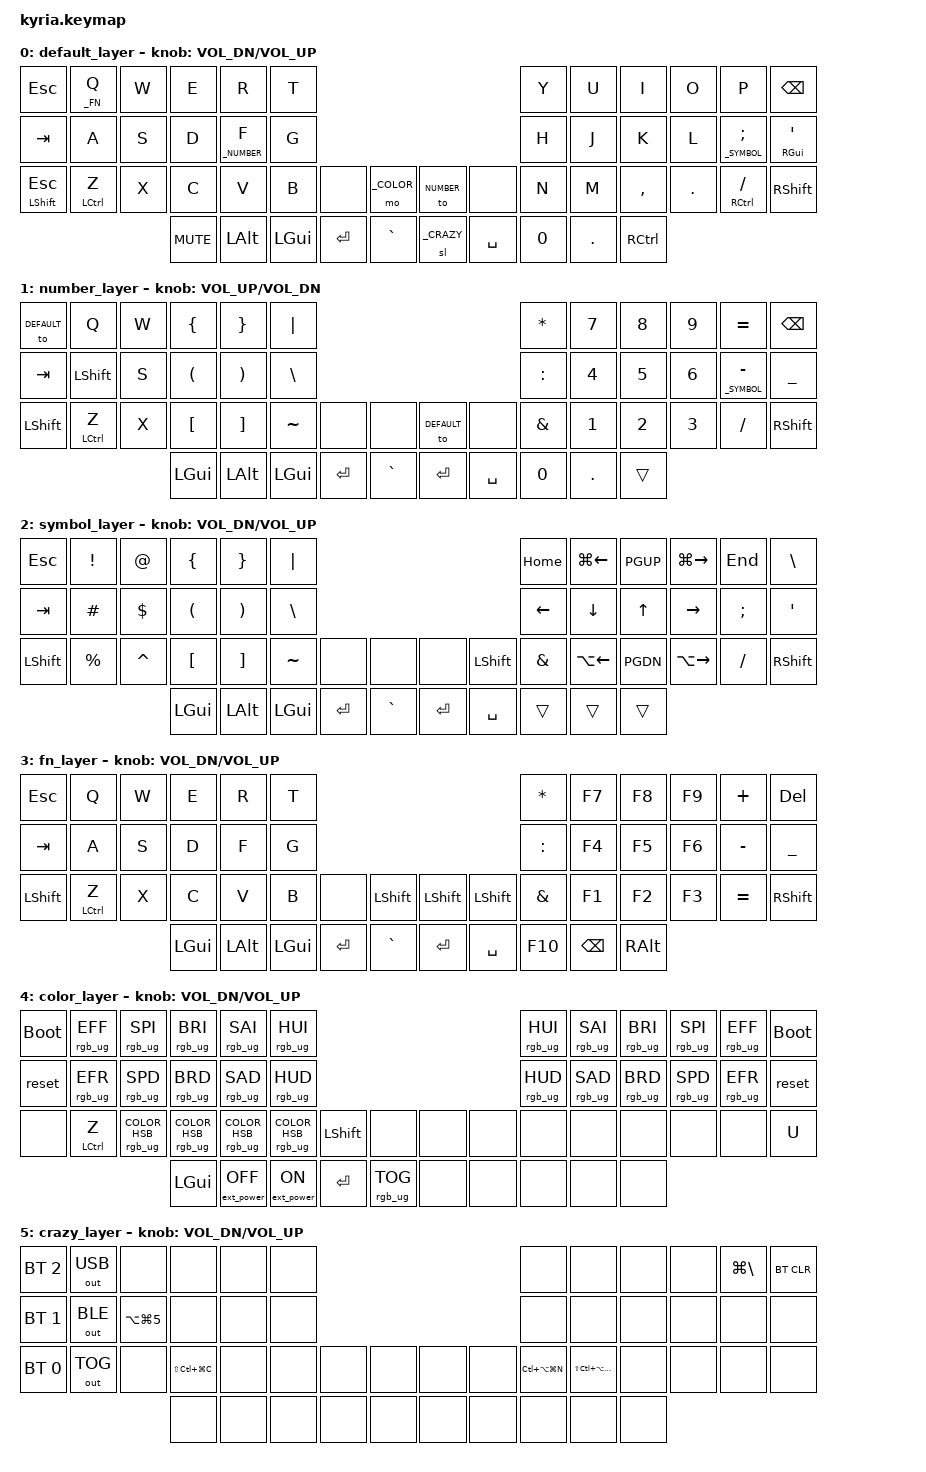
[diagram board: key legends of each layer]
/*
 * Copyright (c) 2020 The ZMK Contributors
 *
 * SPDX-License-Identifier: MIT
 */

#include <behaviors.dtsi>
#include <dt-bindings/zmk/keys.h>
#include <dt-bindings/zmk/rgb.h>
#include <dt-bindings/zmk/ext_power.h>
#include <dt-bindings/zmk/bt.h>
#include <dt-bindings/zmk/outputs.h>

// west build -d build/left -b nice_nano -- -DSHIELD=kyria_left
// west build -d build/right -b nice_nano -- -DSHIELD=kyria_right

#define _DEFAULT 0
#define _NUMBER  1
#define _SYMBOL  2
#define _FN      3
#define _COLOR   4
#define _CRAZY   5

/ {

  behaviors {
    hm: homerow_mods {
        compatible = "zmk,behavior-hold-tap";
        label = "HOMEROW_MODS";
        #binding-cells = <2>;
        tapping_term_ms = <150>;
        flavor = "tap-preferred";
        bindings = <&kp>, <&kp>;
    };
  };

  combos {
    compatible = "zmk,combos";
    combo_ret {
      timeout-ms = <50>;
      key-positions = <19 20>; // J K
      bindings = <&kp RET>;
    };

    combo_space {
      timeout-ms = <50>;
      key-positions = <14 16>; // S F
      bindings = <&kp SPACE>;
    };
    
    combo_cmdspace {
      timeout-ms = <50>;
      key-positions = <43 46>;
      bindings = <&kp LG(SPACE)>;
    };
  };

	keymap {
		compatible = "zmk,keymap";

		default_layer {
// -----------------------------------------------------------------------------------------------------------------------------------
// |  ESC  |  Q  |  W  |  E   |  R   |  T   |                                          |  Y   |  U    |  I    |  O   |   P   |   \   |
// |  TAB  |  A  |  S  |  D   |  F   |  G   |                                          |  H   |  J    |  K    |  L   |   ;   |   '   |
// | SHIFT |  Z  |  X  |  C   |  V   |  B   | L SHIFT | L SHIFT |  | L SHIFT | L SHIFT |  N   |  M    |  ,    |  .   |   /   | SHIFT |
//                     | GUI  | LALT | LGUI |   RET   |  GRAVE  |  |   RET   |  SPACE  | TAB  | BSPC  | R-ALT |
			bindings = <
	&kp ESC       &lt _FN Q    &kp W  &kp E       &kp R          &kp T                                                  &kp Y   &kp U    &kp I      &kp O    &kp P             &kp BSPC
	&kp TAB       &kp A        &kp S  &kp D       &lt _NUMBER F  &kp G                                                  &kp H   &kp J    &kp K      &kp L    &lt _SYMBOL SEMI  &hm RGUI SQT
	&mt LSHFT ESC &mt LCTRL Z  &kp X  &kp C       &kp V          &kp B     &none    &mo _COLOR  &to _NUMBER  &none      &kp N   &kp M    &kp COMMA  &kp DOT  &mt RCTRL FSLH    &kp RSHFT
	                               &kp K_MUTE  &kp LALT       &kp LGUI  &kp RET  &kp GRAVE   &sl _CRAZY   &kp SPACE  &kp N0  &kp DOT  &kp RCTL
			>;

			sensor-bindings = <&inc_dec_kp C_VOL_DN C_VOL_UP>;
		};

		number_layer {
			bindings = <
	&to _DEFAULT  &kp Q        &kp W  &kp LBRC  &kp RBRC  &kp PIPE                                                &kp STAR   &kp N7   &kp N8  &kp N9  &kp EQUAL          &kp BSPC
	&kp TAB       &kp LSHFT    &kp S  &kp LPAR  &kp RPAR  &kp BSLH                                                &kp COLON  &kp N4   &kp N5  &kp N6  &lt _SYMBOL MINUS  &kp UNDER
	&kp LSHFT     &mt LCTRL Z  &kp X  &kp LBKT  &kp RBKT  &kp TILDE  &none    &none      &to _DEFAULT  &none      &kp AMPS   &kp N1   &kp N2  &kp N3  &kp FSLH           &kp RSHFT
	                                  &kp LGUI  &kp LALT  &kp LGUI   &kp RET  &kp GRAVE  &kp RET       &kp SPACE  &kp N0     &kp DOT  &trans
			>;

			sensor-bindings = <&inc_dec_kp C_VOL_UP C_VOL_DN>;
		};

		symbol_layer {
			bindings = <
	&kp ESC    &kp EXCL   &kp AT      &kp LBRC  &kp RBRC  &kp PIPE                                           &kp HOME  &kp LG(LEFT)  &kp PGUP  &kp LG(RIGHT)  &kp END   &kp BSLH
	&kp TAB    &kp HASH   &kp DOLLAR  &kp LPAR  &kp RPAR  &kp BSLH                                           &kp LEFT  &kp DOWN      &kp UP    &kp RIGHT      &kp SEMI  &kp SQT
	&kp LSHFT  &kp PRCNT  &kp CARET   &kp LBKT  &kp RBKT  &kp TILDE  &none    &none      &none    &kp LSHFT  &kp AMPS  &kp LA(LEFT)  &kp PGDN  &kp LA(RIGHT)  &kp FSLH  &kp RSHFT
	                                  &kp LGUI  &kp LALT  &kp LGUI   &kp RET  &kp GRAVE  &kp RET  &kp SPACE  &trans    &trans        &trans
			>;

			sensor-bindings = <&inc_dec_kp C_VOL_DN C_VOL_UP>;
		};

		fn_layer {
			bindings = <
	&kp ESC    &kp Q        &kp W  &kp E     &kp R     &kp T                                               &kp STAR   &kp F7    &kp F8    &kp F9  &kp PLUS   &kp DEL
	&kp TAB    &kp A        &kp S  &kp D     &kp F     &kp G                                               &kp COLON  &kp F4    &kp F5    &kp F6  &kp MINUS  &kp UNDER
	&kp LSHFT  &mt LCTRL Z  &kp X  &kp C     &kp V     &kp B     &none    &kp LSHFT  &kp LSHFT  &kp LSHFT  &kp AMPS   &kp F1    &kp F2    &kp F3  &kp EQUAL  &kp RSHFT
	                               &kp LGUI  &kp LALT  &kp LGUI  &kp RET  &kp GRAVE  &kp RET    &kp SPACE  &kp F10    &kp BSPC  &kp RALT
			>;

			sensor-bindings = <&inc_dec_kp C_VOL_DN C_VOL_UP>;
		};

		color_layer {
			bindings = <
	&bootloader   &rgb_ug RGB_EFF  &rgb_ug RGB_SPI                   &rgb_ug RGB_BRI                    &rgb_ug RGB_SAI                     &rgb_ug RGB_HUI                                                               &rgb_ug RGB_HUI  &rgb_ug RGB_SAI  &rgb_ug RGB_BRI  &rgb_ug RGB_SPI  &rgb_ug RGB_EFF  &bootloader
	&reset        &rgb_ug RGB_EFR  &rgb_ug RGB_SPD                   &rgb_ug RGB_BRD                    &rgb_ug RGB_SAD                     &rgb_ug RGB_HUD                                                               &rgb_ug RGB_HUD  &rgb_ug RGB_SAD  &rgb_ug RGB_BRD  &rgb_ug RGB_SPD  &rgb_ug RGB_EFR  &reset
	&none         &mt LCTRL Z      &rgb_ug RGB_COLOR_HSB(0,100,100)  &rgb_ug RGB_COLOR_HSB(90,100,100)  &rgb_ug RGB_COLOR_HSB(120,100,100)  &rgb_ug RGB_COLOR_HSB(270,100,100)  &kp LSHFT  &none            &none  &none  &none  &none  &none  &none  &none  &kp U
	                                                                &kp LGUI                           &ext_power EP_OFF                   &ext_power EP_ON                    &kp RET    &rgb_ug RGB_TOG  &none  &none  &none  &none  &none
			>;

			sensor-bindings = <&inc_dec_kp C_VOL_DN C_VOL_UP>;
		};

		crazy_layer {
			bindings = <
	&bt BT_SEL 2  &out OUT_USB  &none           &none              &none  &none                              &none              &none                  &none  &none  &kp LG(BSLH)  &bt BT_CLR
	&bt BT_SEL 1  &out OUT_BLE  &kp LA(LG(N5))  &none              &none  &none                              &none              &none                  &none  &none  &none         &none
	&bt BT_SEL 0  &out OUT_TOG  &none           &kp LS(LC(LG(C)))  &none  &none  &none  &none  &none  &none  &kp LC(LA(LG(N)))  &kp LS(LC(LA(LG(M))))  &none  &none  &none         &none
	                                     &none              &none  &none  &none  &none  &none  &none  &none              &none                  &none
			>;

			sensor-bindings = <&inc_dec_kp C_VOL_DN C_VOL_UP>;
		};
	};
};
